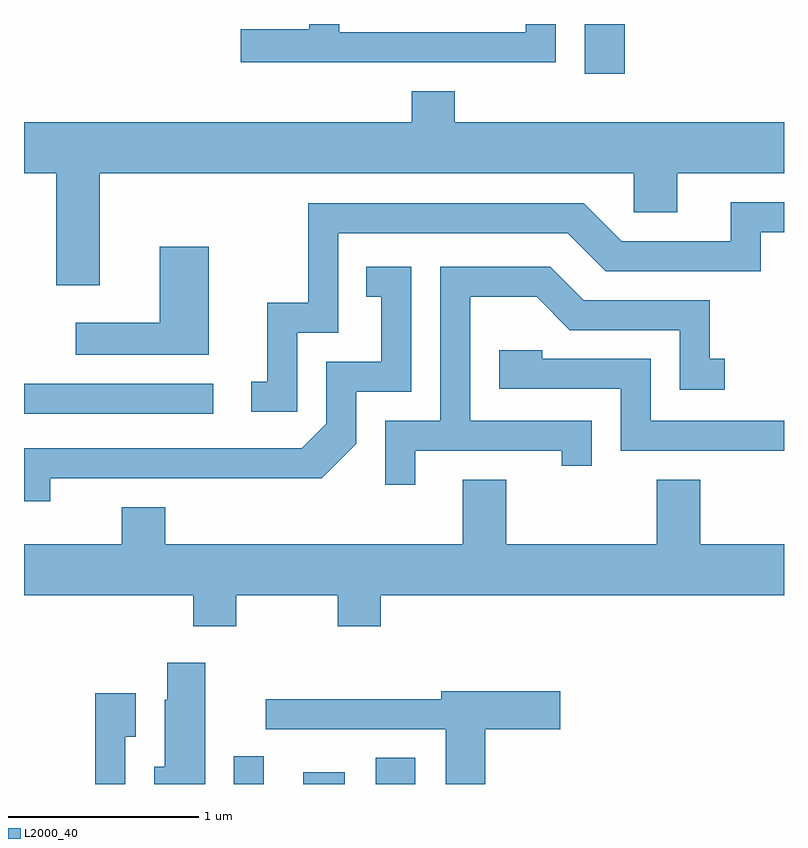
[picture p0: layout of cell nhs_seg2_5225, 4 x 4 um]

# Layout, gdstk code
import gdstk
lib = gdstk.Library(unit=1e-6, precision=1e-09)
def R(c, l, rs):  # rectangles x0, y0, x1, y1
    for r in rs: c.add(gdstk.rectangle(r[:2], r[2:], *l))
def P(c, l, *ps):  # polygons
    for p in ps: c.add(gdstk.Polygon(p, *l))
L2000_40 = (2000, 40)

nhs_seg2_5225 = lib.new_cell('nhs_seg2_5225')
R(nhs_seg2_5225, L2000_40, [(340.716,1011.802,340.874,1011.948), (341.081,1011.802,341.299,1011.864), (341.461,1011.802,341.669,1011.939), (339.611,1013.751,340.608,1013.909), (342.561,1015.541,342.774,1015.802)])
P(nhs_seg2_5225, L2000_40, [(342.409,1015.802),(342.251,1015.802),(342.251,1015.759),(341.269,1015.759),(341.269,1015.802),(341.111,1015.802),(341.111,1015.774),(340.751,1015.774),(340.751,1015.601),(342.409,1015.601)],
  [(340.009,1015.016),(342.821,1015.016),(342.821,1014.811),(343.049,1014.811),(343.049,1015.016),(343.611,1015.016),(343.611,1015.284),(341.879,1015.284),(341.879,1015.449),(341.651,1015.449),(341.651,1015.284),(339.611,1015.284),(339.611,1015.016),(339.781,1015.016),(339.781,1014.426),(340.009,1014.426)],
  [(341.049,1014.176),(341.264,1014.176),(341.264,1014.701),(342.474,1014.701),(342.674,1014.501),(343.489,1014.501),(343.489,1014.706),(343.611,1014.706),(343.611,1014.864),(343.331,1014.864),(343.331,1014.659),(342.757,1014.659),(342.557,1014.859),(341.106,1014.859),(341.106,1014.334),(340.891,1014.334),(340.891,1013.919),(340.808,1013.919),(340.808,1013.761),(341.049,1013.761)],
  [(340.584,1014.629),(340.326,1014.629),(340.326,1014.229),(339.883,1014.229),(339.883,1014.061),(340.584,1014.061)],
  [(341.669,1013.556),(342.441,1013.556),(342.441,1013.478),(342.599,1013.478),(342.599,1013.714),(341.959,1013.714),(341.959,1014.366),(342.309,1014.366),(342.484,1014.191),(343.061,1014.191),(343.061,1013.876),(343.298,1013.876),(343.298,1014.039),(343.219,1014.039),(343.219,1014.349),(342.557,1014.349),(342.382,1014.524),(341.801,1014.524),(341.801,1013.714),(341.511,1013.714),(341.511,1013.378),(341.669,1013.378)],
  [(339.749,1013.411),(341.177,1013.411),(341.359,1013.594),(341.359,1013.866),(341.649,1013.866),(341.649,1014.524),(341.413,1014.524),(341.413,1014.366),(341.491,1014.366),(341.491,1014.024),(341.201,1014.024),(341.201,1013.697),(341.074,1013.569),(339.611,1013.569),(339.611,1013.291),(339.749,1013.291)],
  [(343.611,1013.714),(342.909,1013.714),(342.909,1014.039),(342.339,1014.039),(342.339,1014.084),(342.111,1014.084),(342.111,1013.881),(342.751,1013.881),(342.751,1013.556),(343.611,1013.556)],
  [(340.729,1012.796),(341.261,1012.796),(341.261,1012.631),(341.489,1012.631),(341.489,1012.796),(343.611,1012.796),(343.611,1013.064),(343.169,1013.064),(343.169,1013.404),(342.941,1013.404),(342.941,1013.064),(342.149,1013.064),(342.149,1013.404),(341.921,1013.404),(341.921,1013.064),(340.354,1013.064),(340.354,1013.259),(340.126,1013.259),(340.126,1013.064),(339.611,1013.064),(339.611,1012.796),(340.501,1012.796),(340.501,1012.631),(340.729,1012.631)],
  [(340.564,1012.439),(340.366,1012.439),(340.366,1012.245),(340.351,1012.245),(340.351,1011.894),(340.296,1011.894),(340.296,1011.802),(340.564,1011.802)],
  [(342.039,1012.091),(342.434,1012.091),(342.434,1012.289),(341.806,1012.289),(341.806,1012.249),(340.883,1012.249),(340.883,1012.091),(341.831,1012.091),(341.831,1011.802),(342.039,1011.802)],
  [(340.144,1012.051),(340.199,1012.051),(340.199,1012.279),(339.986,1012.279),(339.986,1011.802),(340.144,1011.802)])

lib.write_gds('nhs_seg2_5225.gds')
